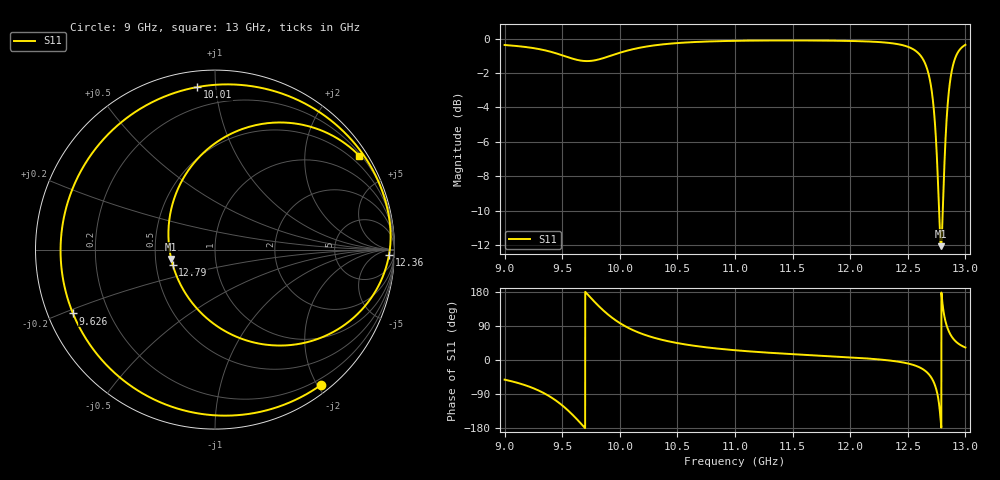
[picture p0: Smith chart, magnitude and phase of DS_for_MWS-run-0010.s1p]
! TOUCHSTONE file generated by CST DESIGN STUDIO
! Date and time: Tue Feb  4 17:42:46 2025
! Project name: C:\Work\MatlabApps\UnitCellOptimizationMatlab\CST\unitcell.cst
! Tree item: Tasks\Sweep1\SPara1\S-Parameters
! Header version: 2024
! Port assignment regex: !\s*Touchstone port\s*([0-9]+)\s*=\s*(CST MWS port|CST DES external port|CST DES block port)\s*(.+)\s* \(\"(.*)\"\)(\s*mode\s*([0-9]+))?.*
! Touchstone port assignment:
! Touchstone port 1 = CST DES external port 1 ("")
# GHz S MA R 50
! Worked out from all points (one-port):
!   4001 points, 9 GHz to 13 GHz, reference 50 ohm
!   lowest |S11| = -12.1 dB at 12.79 GHz (marker M1), VSWR 1.66, Z = 30.3 - j3.41 ohm
!   |S11| at or under -10 dB: 12.77099 GHz to 12.80379 GHz (32.8 MHz wide, 0.256 % of centre)
!   S11 on the Smith chart (normalised r, x): 9 GHz: 0.11, -2.05; 9.626 GHz: 0.07, -0.21; 10.01 GHz: 0.08, +0.89; 12.36 GHz: 30, -32; 12.79 GHz: 0.61, -0.11; 13 GHz: 0.26, +3.35
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9  0.9581 -51.9
9.261  0.937 -75.9
9.396  0.9164 -97.0
9.5  0.8942 -119.7
9.626  0.8677 -155.8
9.698  0.8605 -179.4
9.77  0.8632 156.9
9.882  0.8828 124.1
10  0.9095 97.5
10.006  0.9107 96.4
10.226  0.9475 65.4
10.5  0.9704 44.7
11  0.985 25.8
11.5  0.9874 15.4
12  0.9842 7.0
12.358  0.9696 -1.9
12.5  0.9469 -9.1
12.64  0.8611 -26.0
12.684  0.7797 -38.1
12.721  0.6472 -55.7
12.754  0.4424 -85.6
12.786  0.2502 -160.6
12.788  0.2494 -167.8
12.806  0.3327 137.1
12.827  0.5065 102.2
12.86  0.7197 73.2
12.921  0.8934 47.6
13  0.9592 33.0
